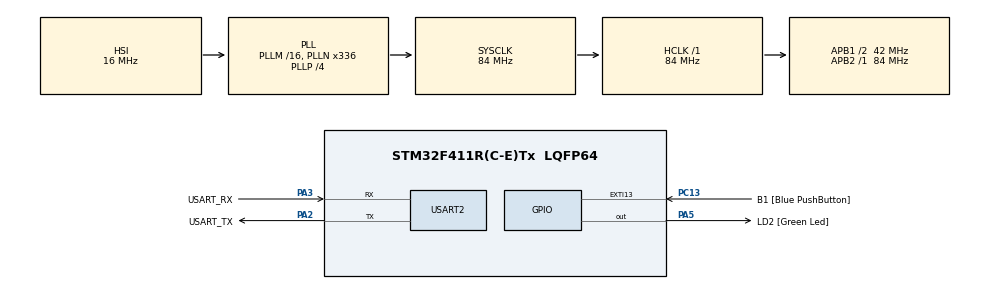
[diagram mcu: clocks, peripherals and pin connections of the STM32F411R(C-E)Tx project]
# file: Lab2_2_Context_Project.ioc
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Mcu.Family=STM32F4
Mcu.Name=STM32F411R(C-E)Tx
Mcu.Package=LQFP64
NVIC.PriorityGroup=NVIC_PRIORITYGROUP_0
PA13.GPIO_Label=TMS
PA13.Mode=Serial_Wire
PA13.Signal=SYS_JTMS-SWDIO
PA14.GPIO_Label=TCK
PA14.Mode=Serial_Wire
PA14.Signal=SYS_JTCK-SWCLK
PA2.GPIO_Label=USART_TX
PA2.Mode=Asynchronous
PA2.Signal=USART2_TX
PA3.GPIO_Label=USART_RX
PA3.Mode=Asynchronous
PA3.Signal=USART2_RX
PA5.GPIO_Label=LD2 [Green Led]
PA5.Signal=GPIO_Output
PB3.GPIO_Label=SWO
PB3.Signal=SYS_JTDO-SWO
PC13-ANTI_TAMP.GPIO_Label=B1 [Blue PushButton]
PC13-ANTI_TAMP.GPIO_ModeDefaultEXTI=GPIO_MODE_IT_FALLING
PC13-ANTI_TAMP.Signal=GPXTI13
PC14-OSC32_IN.Mode=LSE-External-Oscillator
PC14-OSC32_IN.Signal=RCC_OSC32_IN
PC15-OSC32_OUT.Mode=LSE-External-Oscillator
PC15-OSC32_OUT.Signal=RCC_OSC32_OUT
PH0\ -\ OSC_IN.Mode=HSE-External-Clock-Source
PH0\ -\ OSC_IN.Signal=RCC_OSC_IN
PH1\ -\ OSC_OUT.Mode=HSE-External-Clock-Source
PH1\ -\ OSC_OUT.Signal=RCC_OSC_OUT
ProjectManager.HeapSize=0x200
ProjectManager.StackSize=0x400
ProjectManager.TargetToolchain=STM32CubeIDE
RCC.48MHZClocksFreq_Value=84000000
RCC.AHBFreq_Value=84000000
RCC.APB1CLKDivider=RCC_HCLK_DIV2
RCC.APB1Freq_Value=42000000
RCC.APB1TimFreq_Value=84000000
RCC.APB2Freq_Value=84000000
RCC.APB2TimFreq_Value=84000000
RCC.CortexFreq_Value=84000000
RCC.FLatency-AdvancedSettings=FLASH_LATENCY_2
RCC.HCLKFreq_Value=84000000
RCC.HSE_VALUE=8000000
RCC.HSI_VALUE=16000000
RCC.PLLN=336
RCC.PLLP=RCC_PLLP_DIV4
RCC.SYSCLKFreq_VALUE=84000000
RCC.SYSCLKSource=RCC_SYSCLKSOURCE_PLLCLK
RCC.VCOOutputFreq_Value=336000000
USART2.VirtualMode=VM_ASYNC
board=NUCLEO-F411RE

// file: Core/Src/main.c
/* USER CODE BEGIN Header */
/**
  ******************************************************************************
  * @file           : main.c
  * @brief          : Main program body
  ******************************************************************************
  * @attention
  *
  * Copyright (c) 2023 STMicroelectronics.
  * All rights reserved.
  *
  * This software is licensed under terms that can be found in the LICENSE file
  * in the root directory of this software component.
  * If no LICENSE file comes with this software, it is provided AS-IS.
  *
  ******************************************************************************
  */
/* USER CODE END Header */
#include "main.h"
#include<stdio.h>

/* USER CODE BEGIN PD */
#define CHOOSE_PSP 2
#define RUN_FIRST_THREAD 14
/* USER CODE END PD */

UART_HandleTypeDef huart2;

void SystemClock_Config(void);
static void MX_GPIO_Init(void);
static void MX_USART2_UART_Init(void);

extern void runFirstThread(void);
/* USER CODE BEGIN PFP */
	uint32_t* stackptr;

	int __io_putchar(int ch)
	{
		HAL_UART_Transmit(&huart2,(uint8_t*)&ch,1,HAL_MAX_DELAY);
		return ch;
	}

	void jumpAssembly(void* fcn)
	{
		__asm("MOV PC, R0");
	}

	void SVC_Handler_Main( unsigned int *svc_args )
	{
		unsigned int svc_number;
		/*
		* Stack contains:
		* r0, r1, r2, r3, r12, r14, the return address and xPSR
		* First argument (r0) is svc_args[0]
		*/
		svc_number = ( ( char * )svc_args[ 6 ] )[ -2 ] ;
		switch( svc_number )
		{
			case 17: //17 is sort of arbitrarily chosen
				printf("Success!\r\n");
				break;
			case 16:
				printf("Fail!\r\n");
				break;
			case 15:
				printf("In-between!\r\n");
				break;
			case 14:
				__set_PSP(stackptr);
				runFirstThread();
				break;
			default: /* unknown SVC */
				break;
		}
	}

	void print_success(void)
	{
		__asm("SVC #17");
	}

	void print_fail(void)
	{
		__asm("SVC #16");
	}

	void print_between(void)
	{
		__asm("SVC #15");
	}

	void thread_function(void)
	{
		__asm("SVC #14");
	}

/* USER CODE END PFP */

int main(void)
{

  /* MCU Configuration--------------------------------------------------------*/

  /* Reset of all peripherals, Initializes the Flash interface and the Systick. */
  HAL_Init();

  /* USER CODE BEGIN Unit */

  /* USER CODE END Init */

  /* Configure the system clock */
  SystemClock_Config();

  /* Initialize all configured peripherals */
  MX_GPIO_Init();
  MX_USART2_UART_Init();
  /* USER CODE BEGIN 2 */
  /*
  char m = 'm';
  HAL_UART_Transmit(&huart2,&m,1,HAL_MAX_DELAY);
  printf("Hello, world!\r\n"); //\r\n means “newline and return”
  */

  void print_continuously () {
	  while(1 == 1) {
		  printf("Hello, PC!\r\n");
	  }
  }

  void (*print_function_pointer) = print_continuously;
  // jumpAssembly(print_function_pointer);

//  print_success();
//  print_fail();
//  print_between();

  uint32_t* MSP_INIT_VAL = *(uint32_t**)0x0;
  uint32_t PSP = (uint32_t)MSP_INIT_VAL - 0x200;

  stackptr = PSP;

  *(--stackptr) = 1<<24; //A magic number, this is xPSR
  *(--stackptr) = (uint32_t)print_continuously; //the function name
  for (int i = 1; i <= 14; i++) {
	  *(--stackptr) = 0xA; //An arbitrary number
  }

  thread_function();

  /* USER CODE END 2 */

  /* Infinite loop */
  /*
  uint32_t* MSP_INIT_VAL = *(uint32_t**)0x0;
  printf("MSP Init is: %p\n\r",MSP_INIT_VAL); //note the %p to print a pointer. It will be in hex

  uint32_t PSP = (uint32_t)MSP_INIT_VAL - 0x200;

  __set_PSP(PSP);
  __set_CONTROL(CHOOSE_PSP);
  */
  while (1)
  {

  }
}

void SystemClock_Config(void)
{
  RCC_OscInitTypeDef RCC_OscInitStruct = {0};
  RCC_ClkInitTypeDef RCC_ClkInitStruct = {0};

  /** Configure the main internal regulator output voltage
  */
  __HAL_RCC_PWR_CLK_ENABLE();
  __HAL_PWR_VOLTAGESCALING_CONFIG(PWR_REGULATOR_VOLTAGE_SCALE1);

  /** Initializes the RCC Oscillators according to the specified parameters
  * in the RCC_OscInitTypeDef structure.
  */
  RCC_OscInitStruct.OscillatorType = RCC_OSCILLATORTYPE_HSI;
  RCC_OscInitStruct.HSIState = RCC_HSI_ON;
  RCC_OscInitStruct.HSICalibrationValue = RCC_HSICALIBRATION_DEFAULT;
  RCC_OscInitStruct.PLL.PLLState = RCC_PLL_ON;
  RCC_OscInitStruct.PLL.PLLSource = RCC_PLLSOURCE_HSI;
  RCC_OscInitStruct.PLL.PLLM = 16;
  RCC_OscInitStruct.PLL.PLLN = 336;
  RCC_OscInitStruct.PLL.PLLP = RCC_PLLP_DIV4;
  RCC_OscInitStruct.PLL.PLLQ = 4;
  if (HAL_RCC_OscConfig(&RCC_OscInitStruct) != HAL_OK)
  {
    Error_Handler();
  }

  /** Initializes the CPU, AHB and APB buses clocks
  */
  RCC_ClkInitStruct.ClockType = RCC_CLOCKTYPE_HCLK|RCC_CLOCKTYPE_SYSCLK
                              |RCC_CLOCKTYPE_PCLK1|RCC_CLOCKTYPE_PCLK2;
  RCC_ClkInitStruct.SYSCLKSource = RCC_SYSCLKSOURCE_PLLCLK;
  RCC_ClkInitStruct.AHBCLKDivider = RCC_SYSCLK_DIV1;
  RCC_ClkInitStruct.APB1CLKDivider = RCC_HCLK_DIV2;
  RCC_ClkInitStruct.APB2CLKDivider = RCC_HCLK_DIV1;

  if (HAL_RCC_ClockConfig(&RCC_ClkInitStruct, FLASH_LATENCY_2) != HAL_OK)
  {
    Error_Handler();
  }
}

static void MX_USART2_UART_Init(void)
{

  huart2.Instance = USART2;
  huart2.Init.BaudRate = 115200;
  huart2.Init.WordLength = UART_WORDLENGTH_8B;
  huart2.Init.StopBits = UART_STOPBITS_1;
  huart2.Init.Parity = UART_PARITY_NONE;
  huart2.Init.Mode = UART_MODE_TX_RX;
  huart2.Init.HwFlowCtl = UART_HWCONTROL_NONE;
  huart2.Init.OverSampling = UART_OVERSAMPLING_16;
  if (HAL_UART_Init(&huart2) != HAL_OK)
  {
    Error_Handler();
  }

}

static void MX_GPIO_Init(void)
{
  GPIO_InitTypeDef GPIO_InitStruct = {0};

  /* GPIO Ports Clock Enable */
  __HAL_RCC_GPIOC_CLK_ENABLE();
  __HAL_RCC_GPIOH_CLK_ENABLE();
  __HAL_RCC_GPIOA_CLK_ENABLE();
  __HAL_RCC_GPIOB_CLK_ENABLE();

  /*Configure GPIO pin Output Level */
  HAL_GPIO_WritePin(LD2_GPIO_Port, LD2_Pin, GPIO_PIN_RESET);

  /*Configure GPIO pin : B1_Pin */
  GPIO_InitStruct.Pin = B1_Pin;
  GPIO_InitStruct.Mode = GPIO_MODE_IT_FALLING;
  GPIO_InitStruct.Pull = GPIO_NOPULL;
  HAL_GPIO_Init(B1_GPIO_Port, &GPIO_InitStruct);

  /*Configure GPIO pin : LD2_Pin */
  GPIO_InitStruct.Pin = LD2_Pin;
  GPIO_InitStruct.Mode = GPIO_MODE_OUTPUT_PP;
  GPIO_InitStruct.Pull = GPIO_NOPULL;
  GPIO_InitStruct.Speed = GPIO_SPEED_FREQ_LOW;
  HAL_GPIO_Init(LD2_GPIO_Port, &GPIO_InitStruct);

}

void Error_Handler(void)
{
  __disable_irq();
  while (1)
  {
  }
}
